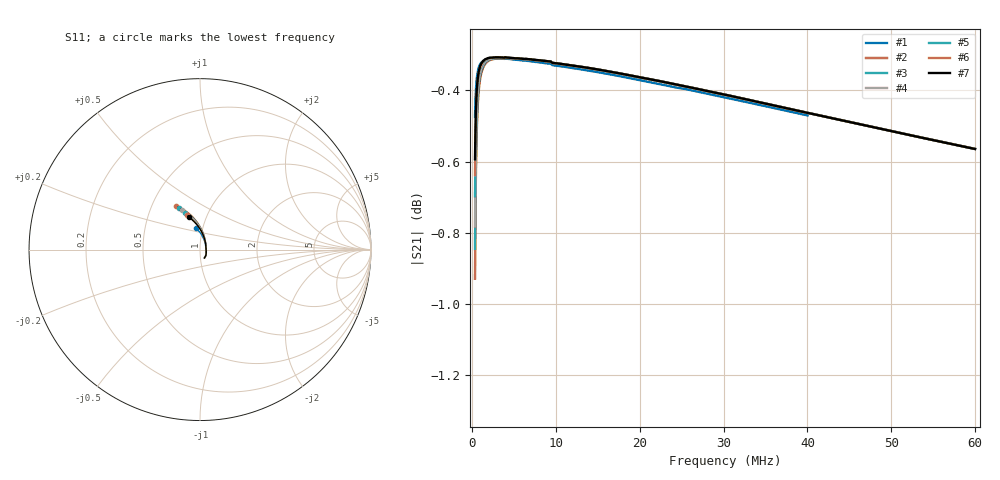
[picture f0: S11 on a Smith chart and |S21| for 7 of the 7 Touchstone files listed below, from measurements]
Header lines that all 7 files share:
! TOUCHSTONE file generated by CST DESIGN STUDIO
! Tree item: Tasks\SPara1\S-Parameters
! Header version: 2024
! Port assignment regex: !\s*Touchstone port\s*([0-9]+)\s*=\s*(CST MWS port|CST DES external port|CST DES block port)\s*(.+)\s* \(\"(.*)\"\)(\s*mode\s*([0-9]+))?.*
! Touchstone port assignment:
! Touchstone port 1 = CST DES external port 1 ("PHY")
! Touchstone port 2 = CST DES external port 2 ("MDI")
# MHz S MA R 100
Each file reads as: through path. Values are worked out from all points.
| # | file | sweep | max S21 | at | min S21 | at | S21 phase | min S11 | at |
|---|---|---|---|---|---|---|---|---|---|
| 1 | Passive_node_ADL32VHR-360M_100R_Differential_P1_PHY_2P_MDI.s2p | 300 kHz to 40 MHz | -0.31 dB | 2.977 MHz | -0.5 dB | 300 kHz | 179 deg at 3.464 MHz | -29.2 dB | 7.541 MHz |
| 2 | Passive_node_PID77-200_100R_Differential_P1_PHY_2P_MDI.s2p | 300 kHz to 60 MHz | -0.31 dB | 3.939 MHz | -0.9 dB | 300 kHz | 179 deg at 4.243 MHz | -28.8 dB | 9.343 MHz |
| 3 | Passive_node_PID77-220_100R_Differential_P1_PHY_2P_MDI.s2p | 300 kHz to 60 MHz | -0.31 dB | 3.939 MHz | -0.8 dB | 300 kHz | 179 deg at 4.243 MHz | -28.8 dB | 9.343 MHz |
| 4 | Passive_node_PID77-240_100R_Differential_P1_PHY_2P_MDI.s2p | 300 kHz to 60 MHz | -0.31 dB | 3.939 MHz | -0.8 dB | 300 kHz | 179 deg at 4.243 MHz | -28.9 dB | 9.003 MHz |
| 5 | Passive_node_PID77-270_100R_Differential_P1_PHY_2P_MDI.s2p | 300 kHz to 60 MHz | -0.31 dB | 3.939 MHz | -0.7 dB | 300 kHz | 179 deg at 4.243 MHz | -28.9 dB | 8.955 MHz |
| 6 | Passive_node_PID77-300_100R_Differential_P1_PHY_2P_MDI.s2p | 300 kHz to 60 MHz | -0.31 dB | 3.939 MHz | -0.6 dB | 300 kHz | 179 deg at 4.243 MHz | -28.9 dB | 8.955 MHz |
| 7 | Passive_node_PID77-330_100R_Differential_P1_PHY_2P_MDI.s2p | 300 kHz to 60 MHz | -0.31 dB | 2.851 MHz | -0.6 dB | 300 kHz | 179 deg at 4.243 MHz | -29.0 dB | 8.098 MHz |
